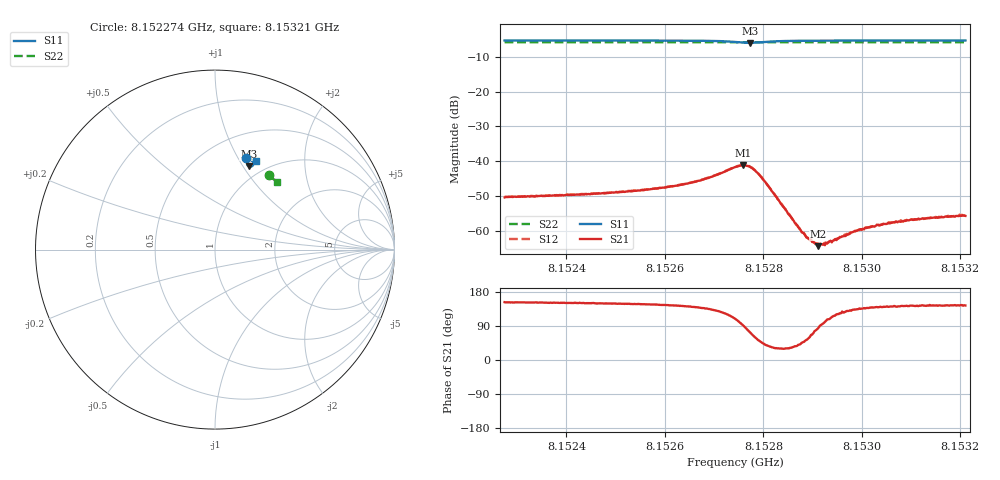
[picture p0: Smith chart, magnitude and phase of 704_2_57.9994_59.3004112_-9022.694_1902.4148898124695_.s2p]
#  HZ  S  RI  R  50.00
! Rohde & Schwarz Vector Network Analyzer
! Rohde-Schwarz,ZNB20-2Port,1311601062101988,3.16
! Created: UTC 3/21/2024, 1:21:54 AM
! freq[Hz]  re:S11  im:S11  re:S21  im:S21  re:S12  im:S12  re:S22  im:S22
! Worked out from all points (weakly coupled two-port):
!   401 points, 8.152274 GHz to 8.15321 GHz, reference 50 ohm
!   highest |S21| = -41.12 dB at 8.152759 GHz (marker M1); lowest = -64.3 dB at 8.152911 GHz (marker M2)
!   lowest |S11| = -6.0 dB at 8.152773 GHz (marker M3), VSWR 3.00, Z = 42.9 + j53.1 ohm
!   |S11| at or under -10 dB: nowhere
!   |S22| runs from -5.9 to -5.8 dB; largest |S21 - S12| = 0.00021
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8.1522745e9  0.1743 0.5114  -0.00271 0.0014  -0.00274 0.00148  0.2994 0.4147
8.1524313e9  0.1861 0.5074  -0.00291 0.00167  -0.00295 0.00172  0.3073 0.4085
8.1525155e9  0.1929 0.5046  -0.00312 0.00191  -0.00313 0.00198  0.3117 0.4051
8.152588e9  0.1996 0.5012  -0.00344 0.00234  -0.00339 0.00237  0.3153 0.4021
8.1526325e9  0.2041 0.4984  -0.00368 0.00278  -0.00363 0.00283  0.3174 0.4003
8.1526746e9  0.2092 0.4936  -0.00396 0.00366  -0.00398 0.00374  0.3196 0.3985
8.1527425e9  0.2113 0.4703  -0.00267 0.00783  -0.00258 0.0079  0.3224 0.3949
8.1527589e9  0.2014 0.4627  -0.00023 0.00879  -0.000146 0.00884  0.3226 0.3941
8.1527729e9  0.1884 0.4635  0.00242 0.00799  0.00256 0.00801  0.3229 0.3938
8.1527846e9  0.1807 0.4709  0.00379 0.00616  0.00391 0.00618  0.3233 0.3938
8.1527986e9  0.1783 0.4812  0.00401 0.00394  0.00411 0.00391  0.3241 0.3936
8.1528735e9  0.1956 0.4985  0.000825 0.000713  0.00083 0.000693  0.3284 0.3909
8.1528899e9  0.1985 0.4987  0.000462 0.00066  0.000429 0.00067  0.3292 0.3903
8.1528993e9  0.2 0.4988  0.000269 0.000645  0.000248 0.000656  0.3298 0.3898
8.152911e9  0.2017 0.4988  7.36e-05 0.000603  8.81e-05 0.000658  0.3303 0.3893
8.152918e9  0.2026 0.4986  -3.6e-05 0.000642  1.4e-07 0.000636  0.3307 0.3891
8.152925e9  0.2036 0.4986  -0.000112 0.000617  -0.000123 0.000668  0.331 0.3887
8.1529905e9  0.2107 0.497  -0.000709 0.000726  -0.000682 0.000756  0.3343 0.386
8.1530092e9  0.2124 0.4967  -0.000809 0.000752  -0.000822 0.000776  0.3351 0.3852
8.153056e9  0.2164 0.4953  -0.000997 0.000814  -0.00104 0.000832  0.3373 0.3832
8.1531262e9  0.2221 0.4934  -0.0012 0.000901  -0.0012 0.000894  0.3406 0.3801
8.1532105e9  0.2282 0.4909  -0.00134 0.000971  -0.00136 0.000995  0.3445 0.3764
